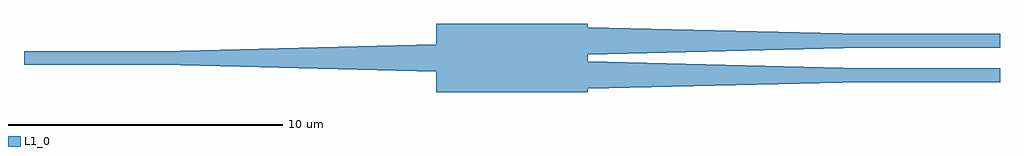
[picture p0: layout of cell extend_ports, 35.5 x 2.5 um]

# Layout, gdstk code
import gdstk
lib = gdstk.Library(unit=1e-6, precision=1e-09)
def R(c, l, rs):  # rectangles x0, y0, x1, y1
    for r in rs: c.add(gdstk.rectangle(r[:2], r[2:], *l))
def P(c, l, *ps):  # polygons
    for p in ps: c.add(gdstk.Polygon(p, *l))
L1_0 = (1, 0)

mmi1x2 = lib.new_cell('mmi1x2')
R(mmi1x2, L1_0, [(-2.75,-1.25,2.75,1.25)])
P(mmi1x2, L1_0, [(12.75,-0.875),(2.75,-1.125),(2.75,-0.125),(12.75,-0.375)],
  [(12.75,0.375),(2.75,0.125),(2.75,1.125),(12.75,0.875)],
  [(-12.75,0.25),(-2.75,0.5),(-2.75,-0.5),(-12.75,-0.25)])

extend_ports = lib.new_cell('extend_ports')
R(extend_ports, L1_0, [(12.75,-0.875,17.75,-0.375), (-17.75,-0.25,-12.75,0.25), (12.75,0.375,17.75,0.875)])
extend_ports.add(gdstk.Reference(mmi1x2, (0,0)))

lib.write_gds('extend_ports.gds')
